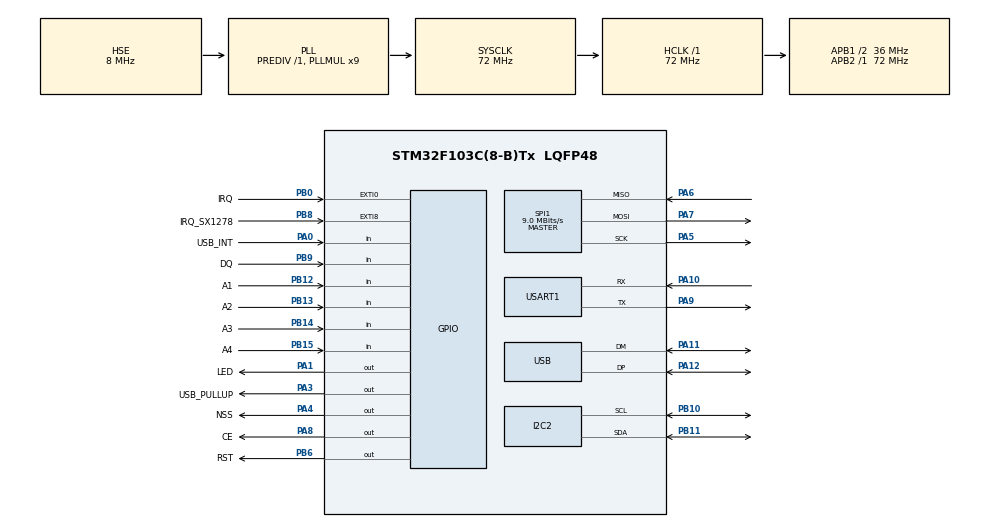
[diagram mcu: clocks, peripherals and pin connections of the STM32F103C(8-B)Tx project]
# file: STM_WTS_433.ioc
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Mcu.Family=STM32F1
Mcu.Name=STM32F103C(8-B)Tx
Mcu.Package=LQFP48
NVIC.EXTI0_IRQn=true\:0\:0\:false\:false\:true\:true\:true
NVIC.EXTI9_5_IRQn=true\:0\:0\:false\:false\:true\:true\:true
NVIC.PriorityGroup=NVIC_PRIORITYGROUP_4
NVIC.TIM1_UP_IRQn=true\:0\:0\:false\:false\:true\:true\:true
NVIC.USART1_IRQn=true\:0\:0\:false\:false\:true\:true\:true
NVIC.USB_LP_CAN1_RX0_IRQn=true\:0\:0\:false\:false\:true\:false\:true
PA0-WKUP.GPIO_Label=USB_INT
PA0-WKUP.GPIO_PuPd=GPIO_PULLDOWN
PA0-WKUP.Signal=GPIO_Input
PA1.GPIO_Label=LED
PA1.Signal=GPIO_Output
PA10.Mode=Asynchronous
PA10.Signal=USART1_RX
PA11.Mode=Device
PA11.Signal=USB_DM
PA12.Mode=Device
PA12.Signal=USB_DP
PA13.Mode=Trace_Asynchronous_SW
PA13.Signal=SYS_JTMS-SWDIO
PA14.Mode=Trace_Asynchronous_SW
PA14.Signal=SYS_JTCK-SWCLK
PA3.GPIO_Label=USB_PULLUP
PA3.Signal=GPIO_Output
PA4.GPIO_Label=NSS
PA4.Signal=GPIO_Output
PA5.Mode=Full_Duplex_Master
PA5.Signal=SPI1_SCK
PA6.Mode=Full_Duplex_Master
PA6.Signal=SPI1_MISO
PA7.Mode=Full_Duplex_Master
PA7.Signal=SPI1_MOSI
PA8.GPIO_Label=CE
PA8.Signal=GPIO_Output
PA9.Mode=Asynchronous
PA9.Signal=USART1_TX
PB0.GPIO_Label=IRQ
PB0.GPIO_ModeDefaultEXTI=GPIO_MODE_IT_FALLING
PB0.GPIO_PuPd=GPIO_PULLUP
PB0.Signal=GPXTI0
PB10.Mode=I2C
PB10.Signal=I2C2_SCL
PB11.Mode=I2C
PB11.Signal=I2C2_SDA
PB12.GPIO_Label=A1
PB12.Signal=GPIO_Input
PB13.GPIO_Label=A2
PB13.Signal=GPIO_Input
PB14.GPIO_Label=A3
PB14.Signal=GPIO_Input
PB15.GPIO_Label=A4
PB15.Signal=GPIO_Input
PB3.Mode=Trace_Asynchronous_SW
PB3.Signal=SYS_JTDO-TRACESWO
PB6.GPIO_Label=RST
PB6.Signal=GPIO_Output
PB8.GPIO_Label=IRQ_SX1278
PB8.Signal=GPXTI8
PB9.GPIO_Label=DQ
PB9.Signal=GPIO_Input
PD0-OSC_IN.Mode=HSE-External-Oscillator
PD0-OSC_IN.Signal=RCC_OSC_IN
PD1-OSC_OUT.Mode=HSE-External-Oscillator
PD1-OSC_OUT.Signal=RCC_OSC_OUT
ProjectManager.HeapSize=0x800
ProjectManager.StackSize=0x800
ProjectManager.TargetToolchain=MDK-ARM V5
RCC.AHBFreq_Value=72000000
RCC.APB1CLKDivider=RCC_HCLK_DIV2
RCC.APB1Freq_Value=36000000
RCC.APB1TimFreq_Value=72000000
RCC.APB2Freq_Value=72000000
RCC.APB2TimFreq_Value=72000000
RCC.HCLKFreq_Value=72000000
RCC.LSE_VALUE=32000
RCC.PLLMUL=RCC_PLL_MUL9
RCC.PLLSourceVirtual=RCC_PLLSOURCE_HSE
RCC.RTCClockSelection=RCC_RTCCLKSOURCE_LSE
RCC.SYSCLKFreq_VALUE=72000000
RCC.SYSCLKSource=RCC_SYSCLKSOURCE_PLLCLK
RCC.USBFreq_Value=48000000
RCC.USBPrescaler=RCC_USBCLKSOURCE_PLL_DIV1_5
SPI1.BaudRatePrescaler=SPI_BAUDRATEPRESCALER_8
SPI1.CalculateBaudRate=9.0 MBits/s
SPI1.Direction=SPI_DIRECTION_2LINES
SPI1.Mode=SPI_MODE_MASTER
SPI1.VirtualType=VM_MASTER
TIM1.ClockDivision=TIM_CLOCKDIVISION_DIV1
TIM1.Period=100
TIM1.Prescaler=35999
USART1.VirtualMode=VM_ASYNC
USB_DEVICE.APP_RX_DATA_SIZE=64
USB_DEVICE.APP_TX_DATA_SIZE=64
USB_DEVICE.CLASS_NAME_FS=CDC
USB_DEVICE.USBD_MAX_STR_DESC_SIZ=256
USB_DEVICE.VirtualMode=Cdc
USB_DEVICE.VirtualModeFS=Cdc_FS
VP_CRC_VS_CRC.Mode=CRC_Activate
VP_TIM1_VS_ClockSourceINT.Mode=Internal
VP_USB_DEVICE_VS_USB_DEVICE_CDC_FS.Mode=CDC_FS
board=STM_WTS

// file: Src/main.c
/* USER CODE BEGIN Header */
/**
  ******************************************************************************
  * @file           : main.c
  * @brief          : Main program body
  ******************************************************************************
  * @attention
  *
  * <h2><center>&copy; Copyright (c) 2020 STMicroelectronics.
  * All rights reserved.</center></h2>
  *
  * This software component is licensed by ST under Ultimate Liberty license
  * SLA0044, the "License"; You may not use this file except in compliance with
  * the License. You may obtain a copy of the License at:
  *                             www.st.com/SLA0044
  *
  ******************************************************************************
  */
/* USER CODE END Header */

#include "main.h"
#include "crc.h"
#include "i2c.h"
#include "spi.h"
#include "tim.h"
#include "usart.h"
#include "usb_device.h"
#include "gpio.h"

/* USER CODE BEGIN Includes */
#include <stdio.h>

#include "usbd_cdc_if.h"
#include "uart_cmd_parser.h"
#include "SX1278.h"
#include "ds18b20.h"
#include "wireless_ctrl.h"

/* USER CODE END Includes */

/* USER CODE BEGIN PV */
/* Private variables ---------------------------------------------------------*/

/* USER CODE END PV */

void SystemClock_Config(void);
/* USER CODE BEGIN PFP */
/* Private function prototypes -----------------------------------------------*/

/* USER CODE END PFP */

int main(void)
{

  /* MCU Configuration--------------------------------------------------------*/

  /* Reset of all peripherals, Initializes the Flash interface and the Systick. */
  HAL_Init();

  /* Configure the system clock */
  SystemClock_Config();

  /* Initialize all configured peripherals */
  MX_GPIO_Init();
  MX_USART1_UART_Init();
  MX_SPI1_Init();
  MX_TIM1_Init();
  MX_CRC_Init();
  MX_USB_DEVICE_Init();
  MX_I2C2_Init();
  /* USER CODE BEGIN 2 */
//test

//endtest

HAL_GPIO_WritePin(USB_PULLUP_GPIO_Port, USB_PULLUP_Pin, GPIO_PIN_SET);
HAL_GPIO_WritePin(LED_GPIO_Port,LED_Pin,GPIO_PIN_SET);
HAL_Delay(200);
uartInit();

//putsUSART("1\r\n>");
ds_init_state= ds18b20_Init(RESOLUTION_9BIT);
//putsUSART("2\r\n>");

SX1278_init(SX1278_POWER_17DBM, SX1278_LORA_SF_8, SX1278_LORA_BW_20_8KHZ, SX1278_CR_4_5 , WL_PLOAD_WIDTH);
HAL_Delay(200);
//putsUSART("3\r\n>");
HAL_TIM_Base_Start_IT( &htim1);
//putsUSART("4\r\n>");
if(ds_init_state){
	putsUSART("DS init FAIL\r\n>");
}

HAL_UART_Receive_IT( &huart1, &receive_val, 1);

  /* USER CODE END 2 */

  /* Infinite loop */
  /* USER CODE BEGIN WHILE */
uint8_t cdc_init=0;

//if(sx1278_init_state==0){
//	nrf_init_state=WL_Check_Addr(0x00);
//
//}

	SX1278_LoRaEntryRx( 20, 2000);
HAL_GPIO_WritePin(LED_GPIO_Port,LED_Pin,GPIO_PIN_RESET);
char dbg_str[32];

sprintf(dbg_str, "WL ADDR: %d", WL_Check_Addr(0x30));
putsUSART(dbg_str);

 while (1){
//Blinking
//DS18B20 init error ..
//NRF24 init error	 -
//NRF24 addr busy		 - -
//NRF24 timeout			 - - -

		if (uart1_rx_flag) {
			parseCommand(uart_rx_buf);
			uart1_rx_flag = 0;

		}
		if (vcp_rx_flag) {
			if(cdc_init){
			CDC_Transmit_FS((uint8_t*)"\r\n>", 3);
			//CDC_Transmit_FS((uint8_t*)"OK\n\r", 4);
			//putsUSART("\r\nOK\n\r");
			parseCommand(vcp_rx_buf);
			}else{
				uartInit();
				cdc_init=1;
			}
			vcp_rx_flag = 0;
		}

		if(ds_init_state){
			HAL_GPIO_WritePin(LED_GPIO_Port,LED_Pin,GPIO_PIN_RESET);
			HAL_Delay(1000);
			HAL_GPIO_TogglePin(LED_GPIO_Port,LED_Pin);
			HAL_Delay(100);
			HAL_GPIO_TogglePin(LED_GPIO_Port,LED_Pin);
			HAL_Delay(200);
			HAL_GPIO_TogglePin(LED_GPIO_Port,LED_Pin);
			HAL_Delay(100);
			HAL_GPIO_TogglePin(LED_GPIO_Port,LED_Pin);
			if(ds_check_timer>500){
				ds_check_timer=0;
				ds_init_state= ds18b20_Init(RESOLUTION_9BIT);
			}
		}else{
			if(ds_check_timer>500){
				ds_check_timer=0;
				ds_init_state= ds18b20_Reset();
			}
		}

			WL_Handler();

    /* USER CODE END WHILE */

  }
}

void SystemClock_Config(void)
{
  RCC_OscInitTypeDef RCC_OscInitStruct = {0};
  RCC_ClkInitTypeDef RCC_ClkInitStruct = {0};
  RCC_PeriphCLKInitTypeDef PeriphClkInit = {0};

  /** Initializes the CPU, AHB and APB busses clocks
  */
  RCC_OscInitStruct.OscillatorType = RCC_OSCILLATORTYPE_HSE;
  RCC_OscInitStruct.HSEState = RCC_HSE_ON;
  RCC_OscInitStruct.HSEPredivValue = RCC_HSE_PREDIV_DIV1;
  RCC_OscInitStruct.HSIState = RCC_HSI_ON;
  RCC_OscInitStruct.PLL.PLLState = RCC_PLL_ON;
  RCC_OscInitStruct.PLL.PLLSource = RCC_PLLSOURCE_HSE;
  RCC_OscInitStruct.PLL.PLLMUL = RCC_PLL_MUL9;
  if (HAL_RCC_OscConfig(&RCC_OscInitStruct) != HAL_OK)
  {
    Error_Handler();
  }
  /** Initializes the CPU, AHB and APB busses clocks
  */
  RCC_ClkInitStruct.ClockType = RCC_CLOCKTYPE_HCLK|RCC_CLOCKTYPE_SYSCLK
                              |RCC_CLOCKTYPE_PCLK1|RCC_CLOCKTYPE_PCLK2;
  RCC_ClkInitStruct.SYSCLKSource = RCC_SYSCLKSOURCE_PLLCLK;
  RCC_ClkInitStruct.AHBCLKDivider = RCC_SYSCLK_DIV1;
  RCC_ClkInitStruct.APB1CLKDivider = RCC_HCLK_DIV2;
  RCC_ClkInitStruct.APB2CLKDivider = RCC_HCLK_DIV1;

  if (HAL_RCC_ClockConfig(&RCC_ClkInitStruct, FLASH_LATENCY_2) != HAL_OK)
  {
    Error_Handler();
  }
  PeriphClkInit.PeriphClockSelection = RCC_PERIPHCLK_USB;
  PeriphClkInit.UsbClockSelection = RCC_USBCLKSOURCE_PLL_DIV1_5;
  if (HAL_RCCEx_PeriphCLKConfig(&PeriphClkInit) != HAL_OK)
  {
    Error_Handler();
  }
}

void Error_Handler(void)
{
  while(1)
  {
  }
}

/************************ (C) COPYRIGHT STMicroelectronics *****END OF FILE****/
